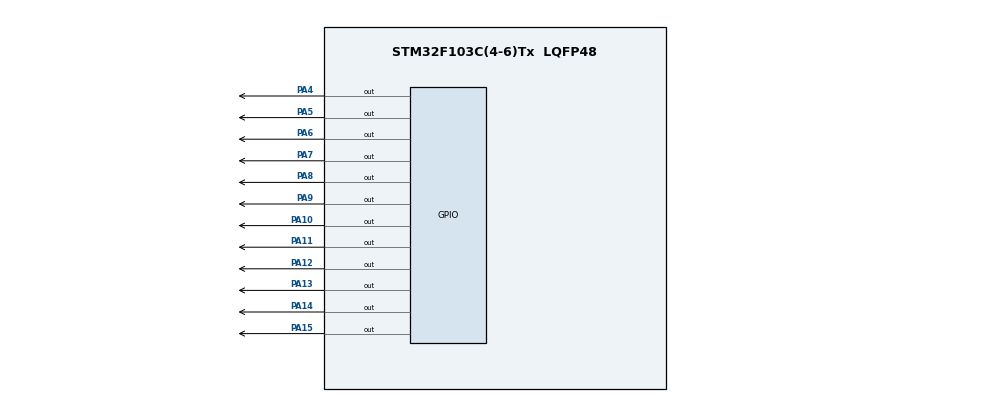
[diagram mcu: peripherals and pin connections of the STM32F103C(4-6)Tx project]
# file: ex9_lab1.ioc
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Mcu.Family=STM32F1
Mcu.Name=STM32F103C(4-6)Tx
Mcu.Package=LQFP48
NVIC.PriorityGroup=NVIC_PRIORITYGROUP_4
PA10.Signal=GPIO_Output
PA11.Signal=GPIO_Output
PA12.Signal=GPIO_Output
PA13.Signal=GPIO_Output
PA14.Signal=GPIO_Output
PA15.Signal=GPIO_Output
PA4.Signal=GPIO_Output
PA5.Signal=GPIO_Output
PA6.Signal=GPIO_Output
PA7.Signal=GPIO_Output
PA8.Signal=GPIO_Output
PA9.Signal=GPIO_Output
ProjectManager.HeapSize=0x200
ProjectManager.StackSize=0x400
ProjectManager.TargetToolchain=STM32CubeIDE
RCC.APB1Freq_Value=8000000
RCC.APB2Freq_Value=8000000
board=custom

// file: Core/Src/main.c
/* USER CODE BEGIN Header */
/**
  ******************************************************************************
  * @file           : main.c
  * @brief          : Main program body
  ******************************************************************************
  * @attention
  *
  * Copyright (c) 2025 STMicroelectronics.
  * All rights reserved.
  *
  * This software is licensed under terms that can be found in the LICENSE file
  * in the root directory of this software component.
  * If no LICENSE file comes with this software, it is provided AS-IS.
  *
  ******************************************************************************
  */
/* USER CODE END Header */
#include "main.h"

void SystemClock_Config(void);
static void MX_GPIO_Init(void);
/* USER CODE BEGIN PFP */
void clearNumberOnClock(int num){
	switch(num){
	case 0:
			HAL_GPIO_WritePin(GPIOA, GPIO_PIN_4, RESET);
			break;
		case 1:
			HAL_GPIO_WritePin(GPIOA, GPIO_PIN_5, RESET);
			break;
		case 2:
			HAL_GPIO_WritePin(GPIOA, GPIO_PIN_6, RESET);
			break;
		case 3:
			HAL_GPIO_WritePin(GPIOA, GPIO_PIN_7, RESET);
			break;
		case 4:
			HAL_GPIO_WritePin(GPIOA, GPIO_PIN_8, RESET);
			break;
		case 5:
			HAL_GPIO_WritePin(GPIOA, GPIO_PIN_9, RESET);
			break;
		case 6:
			HAL_GPIO_WritePin(GPIOA, GPIO_PIN_10, RESET);
			break;
		case 7:
			HAL_GPIO_WritePin(GPIOA, GPIO_PIN_11, RESET);
			break;
		case 8:
			HAL_GPIO_WritePin(GPIOA, GPIO_PIN_12, RESET);
			break;
		case 9:
			HAL_GPIO_WritePin(GPIOA, GPIO_PIN_13, RESET);
			break;
		case 10:
			HAL_GPIO_WritePin(GPIOA, GPIO_PIN_14, RESET);
			break;
		case 11:
			HAL_GPIO_WritePin(GPIOA, GPIO_PIN_15, RESET);
			break;
		default:
			HAL_GPIO_WritePin(GPIOA, GPIO_PIN_4|GPIO_PIN_5|
						GPIO_PIN_6|GPIO_PIN_7|GPIO_PIN_8|GPIO_PIN_9|GPIO_PIN_10|
						GPIO_PIN_11|GPIO_PIN_12|GPIO_PIN_13|GPIO_PIN_14|GPIO_PIN_15, RESET);

	}
}
/* USER CODE END PFP */

int main(void)
{

  /* MCU Configuration--------------------------------------------------------*/

  /* Reset of all peripherals, Initializes the Flash interface and the Systick. */
  HAL_Init();

  /* Configure the system clock */
  SystemClock_Config();

  /* Initialize all configured peripherals */
  MX_GPIO_Init();

  /* Infinite loop */
  /* USER CODE BEGIN WHILE */
  while (1)
  {
	  HAL_GPIO_WritePin(GPIOA, GPIO_PIN_11, SET);
	  HAL_Delay(1000);
	  clearNumberOnClock(7);
	  HAL_Delay(1000);
    /* USER CODE END WHILE */

  }
}

void SystemClock_Config(void)
{
  RCC_OscInitTypeDef RCC_OscInitStruct = {0};
  RCC_ClkInitTypeDef RCC_ClkInitStruct = {0};

  /** Initializes the RCC Oscillators according to the specified parameters
  * in the RCC_OscInitTypeDef structure.
  */
  RCC_OscInitStruct.OscillatorType = RCC_OSCILLATORTYPE_HSI;
  RCC_OscInitStruct.HSIState = RCC_HSI_ON;
  RCC_OscInitStruct.HSICalibrationValue = RCC_HSICALIBRATION_DEFAULT;
  RCC_OscInitStruct.PLL.PLLState = RCC_PLL_NONE;
  if (HAL_RCC_OscConfig(&RCC_OscInitStruct) != HAL_OK)
  {
    Error_Handler();
  }

  /** Initializes the CPU, AHB and APB buses clocks
  */
  RCC_ClkInitStruct.ClockType = RCC_CLOCKTYPE_HCLK|RCC_CLOCKTYPE_SYSCLK
                              |RCC_CLOCKTYPE_PCLK1|RCC_CLOCKTYPE_PCLK2;
  RCC_ClkInitStruct.SYSCLKSource = RCC_SYSCLKSOURCE_HSI;
  RCC_ClkInitStruct.AHBCLKDivider = RCC_SYSCLK_DIV1;
  RCC_ClkInitStruct.APB1CLKDivider = RCC_HCLK_DIV1;
  RCC_ClkInitStruct.APB2CLKDivider = RCC_HCLK_DIV1;

  if (HAL_RCC_ClockConfig(&RCC_ClkInitStruct, FLASH_LATENCY_0) != HAL_OK)
  {
    Error_Handler();
  }
}

static void MX_GPIO_Init(void)
{
  GPIO_InitTypeDef GPIO_InitStruct = {0};

  /* GPIO Ports Clock Enable */
  __HAL_RCC_GPIOA_CLK_ENABLE();

  /*Configure GPIO pin Output Level */
  HAL_GPIO_WritePin(GPIOA, GPIO_PIN_4|GPIO_PIN_5|GPIO_PIN_6|GPIO_PIN_7
                          |GPIO_PIN_8|GPIO_PIN_9|GPIO_PIN_10|GPIO_PIN_11
                          |GPIO_PIN_12|GPIO_PIN_13|GPIO_PIN_14|GPIO_PIN_15, GPIO_PIN_RESET);

  /*Configure GPIO pins : PA4 PA5 PA6 PA7
                           PA8 PA9 PA10 PA11
                           PA12 PA13 PA14 PA15 */
  GPIO_InitStruct.Pin = GPIO_PIN_4|GPIO_PIN_5|GPIO_PIN_6|GPIO_PIN_7
                          |GPIO_PIN_8|GPIO_PIN_9|GPIO_PIN_10|GPIO_PIN_11
                          |GPIO_PIN_12|GPIO_PIN_13|GPIO_PIN_14|GPIO_PIN_15;
  GPIO_InitStruct.Mode = GPIO_MODE_OUTPUT_PP;
  GPIO_InitStruct.Pull = GPIO_NOPULL;
  GPIO_InitStruct.Speed = GPIO_SPEED_FREQ_LOW;
  HAL_GPIO_Init(GPIOA, &GPIO_InitStruct);

}

void Error_Handler(void)
{
  __disable_irq();
  while (1)
  {
  }
}
